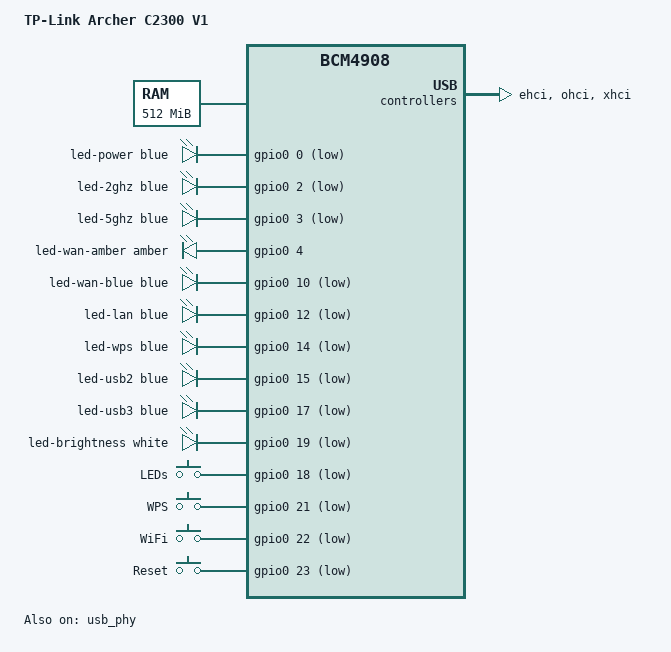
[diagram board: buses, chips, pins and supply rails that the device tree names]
// SPDX-License-Identifier: GPL-2.0-or-later OR MIT

#include <dt-bindings/gpio/gpio.h>
#include <dt-bindings/input/input.h>
#include <dt-bindings/leds/common.h>

#include "bcm4906.dtsi"

/ {
	compatible = "tplink,archer-c2300-v1", "brcm,bcm4906", "brcm,bcm4908", "brcm,bcmbca";
	model = "TP-Link Archer C2300 V1";

	memory@0 {
		device_type = "memory";
		reg = <0x00 0x00 0x00 0x20000000>;
	};

	leds {
		compatible = "gpio-leds";

		led-power {
			function = LED_FUNCTION_POWER;
			color = <LED_COLOR_ID_BLUE>;
			gpios = <&gpio0 0 GPIO_ACTIVE_LOW>;
		};

		led-2ghz {
			function = "2ghz";
			color = <LED_COLOR_ID_BLUE>;
			gpios = <&gpio0 2 GPIO_ACTIVE_LOW>;
		};

		led-5ghz {
			function = "5ghz";
			color = <LED_COLOR_ID_BLUE>;
			gpios = <&gpio0 3 GPIO_ACTIVE_LOW>;
		};

		led-wan-amber {
			function = LED_FUNCTION_WAN;
			color = <LED_COLOR_ID_AMBER>;
			gpios = <&gpio0 4 GPIO_ACTIVE_HIGH>;
		};

		led-wan-blue {
			function = LED_FUNCTION_WAN;
			color = <LED_COLOR_ID_BLUE>;
			gpios = <&gpio0 10 GPIO_ACTIVE_LOW>;
		};

		led-lan {
			function = LED_FUNCTION_LAN;
			color = <LED_COLOR_ID_BLUE>;
			gpios = <&gpio0 12 GPIO_ACTIVE_LOW>;
		};

		led-wps {
			function = LED_FUNCTION_WPS;
			color = <LED_COLOR_ID_BLUE>;
			gpios = <&gpio0 14 GPIO_ACTIVE_LOW>;
		};

		led-usb2 {
			function = "usb2";
			color = <LED_COLOR_ID_BLUE>;
			gpios = <&gpio0 15 GPIO_ACTIVE_LOW>;
			trigger-sources = <&ohci_port1>, <&ehci_port1>;
			linux,default-trigger = "usbport";
		};

		led-usb3 {
			function = "usb3";
			color = <LED_COLOR_ID_BLUE>;
			gpios = <&gpio0 17 GPIO_ACTIVE_LOW>;
			trigger-sources = <&ohci_port2>, <&ehci_port2>, <&xhci_port2>;
			linux,default-trigger = "usbport";
		};

		led-brightness {
			function = LED_FUNCTION_BACKLIGHT;
			color = <LED_COLOR_ID_WHITE>;
			gpios = <&gpio0 19 GPIO_ACTIVE_LOW>;
		};
	};

	gpio-keys-polled {
		compatible = "gpio-keys-polled";
		poll-interval = <100>;

		key-brightness {
			label = "LEDs";
			linux,code = <KEY_BRIGHTNESS_ZERO>;
			gpios = <&gpio0 18 GPIO_ACTIVE_LOW>;
		};

		key-wps {
			label = "WPS";
			linux,code = <KEY_WPS_BUTTON>;
			gpios = <&gpio0 21 GPIO_ACTIVE_LOW>;
		};

		key-wifi {
			label = "WiFi";
			linux,code = <KEY_RFKILL>;
			gpios = <&gpio0 22 GPIO_ACTIVE_LOW>;
		};

		key-restart {
			label = "Reset";
			linux,code = <KEY_RESTART>;
			gpios = <&gpio0 23 GPIO_ACTIVE_LOW>;
		};
	};
};

&usb_phy {
	brcm,ioc = <1>;
	status = "okay";
};

&ehci {
	status = "okay";
};

&ohci {
	status = "okay";
};

&xhci {
	status = "okay";
};

&ports {
	port@0 {
		label = "lan4";
	};

	port@1 {
		label = "lan3";
	};

	port@2 {
		label = "lan2";
	};

	port@3 {
		label = "lan1";
	};

	port@7 {
		reg = <7>;
		phy-mode = "internal";
		phy-handle = <&phy12>;
		label = "wan";
	};
};

&nandcs {
	nand-ecc-strength = <4>;
	nand-ecc-step-size = <512>;
	nand-on-flash-bbt;

	#address-cells = <1>;
	#size-cells = <0>;

	partitions {
		compatible = "brcm,bcm4908-partitions";
		#address-cells = <1>;
		#size-cells = <1>;

		partition@0 {
			label = "cferom";
			reg = <0x0 0x100000>;
		};

		partition@100000 {
			compatible = "brcm,bcm4908-firmware";
			reg = <0x100000 0x3900000>;
		};

		partition@5800000 {
			compatible = "brcm,bcm4908-firmware";
			reg = <0x3a00000 0x3900000>;
		};
	};
};
